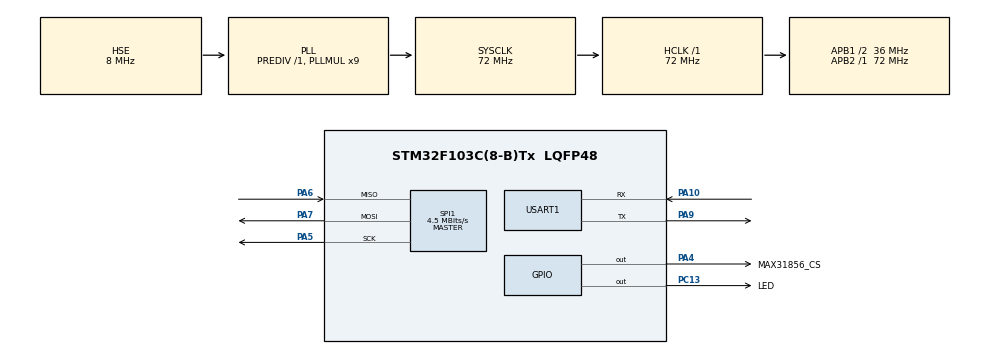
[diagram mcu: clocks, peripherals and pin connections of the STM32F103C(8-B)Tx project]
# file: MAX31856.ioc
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Mcu.Family=STM32F1
Mcu.Name=STM32F103C(8-B)Tx
Mcu.Package=LQFP48
NVIC.PriorityGroup=NVIC_PRIORITYGROUP_4
PA10.Mode=Asynchronous
PA10.Signal=USART1_RX
PA13.Mode=Serial_Wire
PA13.Signal=SYS_JTMS-SWDIO
PA14.Mode=Serial_Wire
PA14.Signal=SYS_JTCK-SWCLK
PA4.GPIO_Label=MAX31856_CS
PA4.Signal=GPIO_Output
PA5.Mode=Full_Duplex_Master
PA5.Signal=SPI1_SCK
PA6.Mode=Full_Duplex_Master
PA6.Signal=SPI1_MISO
PA7.Mode=Full_Duplex_Master
PA7.Signal=SPI1_MOSI
PA9.Mode=Asynchronous
PA9.Signal=USART1_TX
PC13-TAMPER-RTC.GPIO_Label=LED
PC13-TAMPER-RTC.Signal=GPIO_Output
PD0-OSC_IN.Mode=HSE-External-Oscillator
PD0-OSC_IN.Signal=RCC_OSC_IN
PD1-OSC_OUT.Mode=HSE-External-Oscillator
PD1-OSC_OUT.Signal=RCC_OSC_OUT
ProjectManager.HeapSize=0x200
ProjectManager.StackSize=0x400
ProjectManager.TargetToolchain=STM32CubeIDE
RCC.AHBFreq_Value=72000000
RCC.APB1CLKDivider=RCC_HCLK_DIV2
RCC.APB1Freq_Value=36000000
RCC.APB1TimFreq_Value=72000000
RCC.APB2Freq_Value=72000000
RCC.APB2TimFreq_Value=72000000
RCC.HCLKFreq_Value=72000000
RCC.PLLMUL=RCC_PLL_MUL9
RCC.PLLSourceVirtual=RCC_PLLSOURCE_HSE
RCC.SYSCLKFreq_VALUE=72000000
RCC.SYSCLKSource=RCC_SYSCLKSOURCE_PLLCLK
RCC.USBFreq_Value=72000000
SPI1.BaudRatePrescaler=SPI_BAUDRATEPRESCALER_16
SPI1.CLKPhase=SPI_PHASE_2EDGE
SPI1.CalculateBaudRate=4.5 MBits/s
SPI1.Direction=SPI_DIRECTION_2LINES
SPI1.Mode=SPI_MODE_MASTER
SPI1.VirtualType=VM_MASTER
USART1.VirtualMode=VM_ASYNC
board=custom

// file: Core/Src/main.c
/* USER CODE BEGIN Header */
/**
  ******************************************************************************
  * @file           : main.c
  * @brief          : Main program body
  ******************************************************************************
  * @attention
  *
  * Copyright (c) 2025 STMicroelectronics.
  * All rights reserved.
  *
  * This software is licensed under terms that can be found in the LICENSE file
  * in the root directory of this software component.
  * If no LICENSE file comes with this software, it is provided AS-IS.
  *
  ******************************************************************************
  */
/* USER CODE END Header */
#include "main.h"
#include "spi.h"
#include "usart.h"
#include "gpio.h"

/* USER CODE BEGIN Includes */
#include "max31856.h"
#include <stdio.h>
/* USER CODE END Includes */

/* USER CODE BEGIN PV */
MAX31856_Handle_t tc_sensor;
/* USER CODE END PV */

void SystemClock_Config(void);
/* USER CODE BEGIN PFP */
// Platform functions for MAX31856
max31856_status_t platform_spi_write_read(MAX31856_Handle_t *hmax, uint8_t *tx_data, uint8_t *rx_data, uint16_t size);
void platform_cs_low(void);
void platform_cs_high(void);
void platform_delay_ms(uint32_t ms);
int _write(int file, char *ptr, int len);
/* USER CODE END PFP */

/* USER CODE BEGIN 0 */
/**
 * @brief SPI communication for MAX31856
 */
max31856_status_t platform_spi_write_read(MAX31856_Handle_t *hmax, uint8_t *tx_data, uint8_t *rx_data, uint16_t size) {
    if (HAL_SPI_TransmitReceive(&hspi1, tx_data, rx_data, size, 1000) == HAL_OK) {
        return MAX31856_OK;
    }
    return MAX31856_TIMEOUT;
}

/**
 * @brief Set CS pin low
 */
void platform_cs_low(void) {
    HAL_GPIO_WritePin(MAX31856_CS_GPIO_Port, MAX31856_CS_Pin, GPIO_PIN_RESET);
}

/**
 * @brief Set CS pin high
 */
void platform_cs_high(void) {
    HAL_GPIO_WritePin(MAX31856_CS_GPIO_Port, MAX31856_CS_Pin, GPIO_PIN_SET);
}

/**
 * @brief Delay function
 */
void platform_delay_ms(uint32_t ms) {
    HAL_Delay(ms);
}

/**
 * @brief Redirect printf to UART
 */
int _write(int file, char *ptr, int len) {
    HAL_UART_Transmit(&huart1, (uint8_t*)ptr, len, 1000);
    return len;
}
/* USER CODE END 0 */

int main(void)
{

  /* MCU Configuration--------------------------------------------------------*/

  /* Reset of all peripherals, Initializes the Flash interface and the Systick. */
  HAL_Init();

  /* Configure the system clock */
  SystemClock_Config();

  /* Initialize all configured peripherals */
  MX_GPIO_Init();
  MX_SPI1_Init();
  MX_USART1_UART_Init();
  /* USER CODE BEGIN 2 */
  printf("\r\n=== MAX31856 Simple Example ===\r\n");

   // Create platform interface
   max31856_platform_t platform = {
       .spi_write_read = platform_spi_write_read,
       .cs_low = platform_cs_low,
       .cs_high = platform_cs_high,
       .delay_ms = platform_delay_ms,
       .platform_data = NULL
   };

   // Initialize MAX31856 with Type K thermocouple
   if (MAX31856_Init(&tc_sensor, &platform, NULL, 0, MAX31856_TC_TYPE_K) == MAX31856_OK) {
       printf("MAX31856 initialized successfully!\r\n");
   } else {
       printf("MAX31856 initialization failed!\r\n");
       while(1); // Stop here if init fails
   }

   // Enable open-circuit detection
   MAX31856_SetOCFault(&tc_sensor, MAX31856_OCFAULT_10MS);
   printf("Ready to measure temperature...\r\n\r\n");
  /* USER CODE END 2 */

  /* Infinite loop */
  while (1)
  {

    /* USER CODE BEGIN 3 */
	float tc_temp, cj_temp;
	uint8_t fault;

	// Read thermocouple temperature
	if (MAX31856_ReadTemperature(&tc_sensor, &tc_temp) == MAX31856_OK) {
		printf("TC: %.2f C", tc_temp);
	} else {
		printf("TC: Error");
	}

	// Read cold-junction temperature
	if (MAX31856_ReadCJTemperature(&tc_sensor, &cj_temp) == MAX31856_OK) {
		printf(", CJ: %.2f C", cj_temp);
	} else {
		printf(", CJ: Error");
	}

	// Check for faults
	if (MAX31856_ReadFault(&tc_sensor, &fault) == MAX31856_OK && fault != 0) {
		printf(", Fault: 0x%02X", fault);
	if (fault & MAX31856_FAULT_OPEN) {
		printf(" (OPEN!)");
	}
		MAX31856_ClearFault(&tc_sensor);
	}

	printf("\r\n");

	HAL_Delay(2000); // Update every 2 seconds
  }
  /* USER CODE END 3 */
}

void SystemClock_Config(void)
{
  RCC_OscInitTypeDef RCC_OscInitStruct = {0};
  RCC_ClkInitTypeDef RCC_ClkInitStruct = {0};

  /** Initializes the RCC Oscillators according to the specified parameters
  * in the RCC_OscInitTypeDef structure.
  */
  RCC_OscInitStruct.OscillatorType = RCC_OSCILLATORTYPE_HSE;
  RCC_OscInitStruct.HSEState = RCC_HSE_ON;
  RCC_OscInitStruct.HSEPredivValue = RCC_HSE_PREDIV_DIV1;
  RCC_OscInitStruct.HSIState = RCC_HSI_ON;
  RCC_OscInitStruct.PLL.PLLState = RCC_PLL_ON;
  RCC_OscInitStruct.PLL.PLLSource = RCC_PLLSOURCE_HSE;
  RCC_OscInitStruct.PLL.PLLMUL = RCC_PLL_MUL9;
  if (HAL_RCC_OscConfig(&RCC_OscInitStruct) != HAL_OK)
  {
    Error_Handler();
  }

  /** Initializes the CPU, AHB and APB buses clocks
  */
  RCC_ClkInitStruct.ClockType = RCC_CLOCKTYPE_HCLK|RCC_CLOCKTYPE_SYSCLK
                              |RCC_CLOCKTYPE_PCLK1|RCC_CLOCKTYPE_PCLK2;
  RCC_ClkInitStruct.SYSCLKSource = RCC_SYSCLKSOURCE_PLLCLK;
  RCC_ClkInitStruct.AHBCLKDivider = RCC_SYSCLK_DIV1;
  RCC_ClkInitStruct.APB1CLKDivider = RCC_HCLK_DIV2;
  RCC_ClkInitStruct.APB2CLKDivider = RCC_HCLK_DIV1;

  if (HAL_RCC_ClockConfig(&RCC_ClkInitStruct, FLASH_LATENCY_2) != HAL_OK)
  {
    Error_Handler();
  }
}

void Error_Handler(void)
{
  __disable_irq();
  while (1)
  {
  }
}
